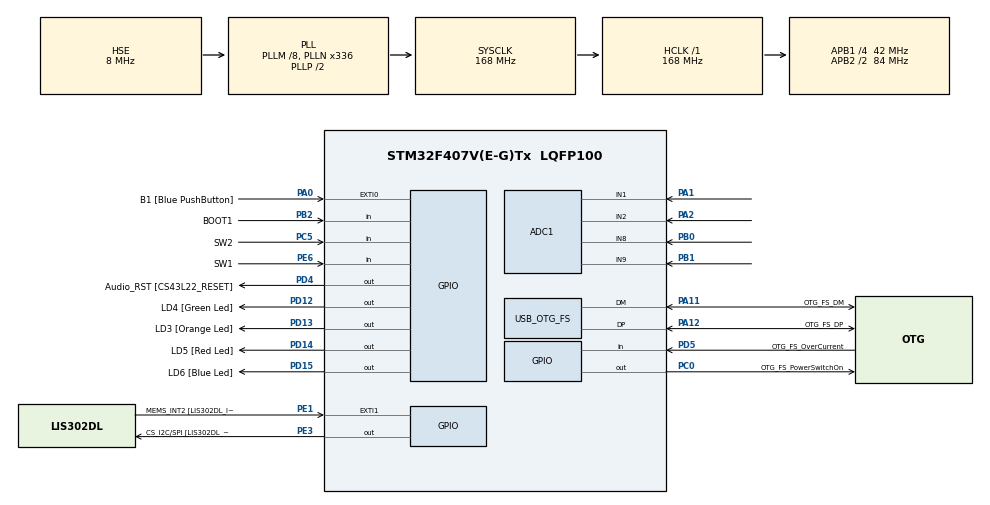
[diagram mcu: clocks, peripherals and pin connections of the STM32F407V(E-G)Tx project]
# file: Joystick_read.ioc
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ADC1.Channel-0\#ChannelRegularConversion=ADC_CHANNEL_1
ADC1.Channel-1\#ChannelRegularConversion=ADC_CHANNEL_2
ADC1.Channel-2\#ChannelRegularConversion=ADC_CHANNEL_8
ADC1.Channel-3\#ChannelRegularConversion=ADC_CHANNEL_9
ADC1.ClockPrescaler=ADC_CLOCK_SYNC_PCLK_DIV4
ADC1.InjNumberOfConversion=0
ADC1.NbrOfConversion=4
ADC1.NbrOfConversionFlag=1
ADC1.Rank-0\#ChannelRegularConversion=1
ADC1.Rank-1\#ChannelRegularConversion=2
ADC1.Rank-2\#ChannelRegularConversion=3
ADC1.Rank-3\#ChannelRegularConversion=4
ADC1.SamplingTime-0\#ChannelRegularConversion=ADC_SAMPLETIME_84CYCLES
ADC1.SamplingTime-1\#ChannelRegularConversion=ADC_SAMPLETIME_84CYCLES
ADC1.SamplingTime-2\#ChannelRegularConversion=ADC_SAMPLETIME_84CYCLES
ADC1.SamplingTime-3\#ChannelRegularConversion=ADC_SAMPLETIME_84CYCLES
ADC1.ScanConvMode=ENABLE
ADC1.master=1
Mcu.Family=STM32F4
Mcu.Name=STM32F407V(E-G)Tx
Mcu.Package=LQFP100
NVIC.OTG_FS_IRQn=true\:0\:0\:false\:false\:true\:false\:true\:true
NVIC.PriorityGroup=NVIC_PRIORITYGROUP_0
PA0-WKUP.GPIO_Label=B1 [Blue PushButton]
PA0-WKUP.Signal=GPXTI0
PA1.Signal=ADCx_IN1
PA10.GPIO_Label=OTG_FS_ID
PA10.GPIO_Mode=GPIO_MODE_AF_PP
PA10.GPIO_PuPd=GPIO_NOPULL
PA10.GPIO_Speed=GPIO_SPEED_FREQ_LOW
PA10.Signal=USB_OTG_FS_ID
PA11.GPIO_Label=OTG_FS_DM
PA11.GPIO_Mode=GPIO_MODE_AF_PP
PA11.GPIO_PuPd=GPIO_NOPULL
PA11.GPIO_Speed=GPIO_SPEED_FREQ_LOW
PA11.Mode=Device_Only
PA11.Signal=USB_OTG_FS_DM
PA12.GPIO_Label=OTG_FS_DP
PA12.GPIO_Mode=GPIO_MODE_AF_PP
PA12.GPIO_PuPd=GPIO_NOPULL
PA12.GPIO_Speed=GPIO_SPEED_FREQ_LOW
PA12.Mode=Device_Only
PA12.Signal=USB_OTG_FS_DP
PA13.GPIO_Label=SWDIO
PA13.Mode=Serial_Wire
PA13.Signal=SYS_JTMS-SWDIO
PA14.GPIO_Label=SWCLK
PA14.Mode=Serial_Wire
PA14.Signal=SYS_JTCK-SWCLK
PA2.Signal=ADCx_IN2
PA4.GPIO_Label=I2S3_WS [CS43L22_LRCK]
PA4.GPIO_Mode=GPIO_MODE_AF_PP
PA4.GPIO_PuPd=GPIO_NOPULL
PA4.GPIO_Speed=GPIO_SPEED_FREQ_LOW
PA4.Signal=I2S3_WS
PA5.GPIO_Label=SPI1_SCK [LIS302DL_SCL/SPC]
PA5.GPIO_Mode=GPIO_MODE_AF_PP
PA5.GPIO_PuPd=GPIO_NOPULL
PA5.GPIO_Speed=GPIO_SPEED_FREQ_LOW
PA5.Signal=SPI1_SCK
PA6.GPIO_Label=SPI1_MISO [LIS302DL_SDO]
PA6.GPIO_Mode=GPIO_MODE_AF_PP
PA6.GPIO_PuPd=GPIO_NOPULL
PA6.GPIO_Speed=GPIO_SPEED_FREQ_LOW
PA6.Signal=SPI1_MISO
PA7.GPIO_Label=SPI1_MOSI [LIS302DL_SDA/SDI/SDO]
PA7.GPIO_Mode=GPIO_MODE_AF_PP
PA7.GPIO_PuPd=GPIO_NOPULL
PA7.GPIO_Speed=GPIO_SPEED_FREQ_LOW
PA7.Signal=SPI1_MOSI
PA9.GPIO_Label=VBUS_FS
PA9.GPIO_Mode=GPIO_MODE_INPUT
PA9.GPIO_PuPd=GPIO_NOPULL
PA9.Signal=USB_OTG_FS_VBUS
PB0.Signal=ADCx_IN8
PB1.Signal=ADCx_IN9
PB10.GPIO_Label=CLK_IN [MP45DT02_CLK]
PB10.GPIO_Mode=GPIO_MODE_AF_PP
PB10.GPIO_PuPd=GPIO_NOPULL
PB10.GPIO_Speed=GPIO_SPEED_FREQ_LOW
PB10.Signal=I2S2_CK
PB2.GPIO_Label=BOOT1
PB2.GPIO_Mode=GPIO_MODE_INPUT
PB2.GPIO_PuPd=GPIO_NOPULL
PB2.Signal=GPIO_Input
PB3.GPIO_Label=SWO
PB3.Signal=SYS_JTDO-SWO
PB6.GPIO_Label=Audio_SCL [CS43L22_SCL]
PB6.GPIO_Mode=GPIO_MODE_AF_OD
PB6.GPIO_PuPd=GPIO_NOPULL
PB6.GPIO_Speed=GPIO_SPEED_FREQ_LOW
PB6.Signal=I2C1_SCL
PB9.GPIO_Label=Audio_SDA [CS43L22_SDA]
PB9.GPIO_Mode=GPIO_MODE_AF_OD
PB9.GPIO_PuPd=GPIO_NOPULL
PB9.GPIO_Speed=GPIO_SPEED_FREQ_LOW
PB9.Signal=I2C1_SDA
PC0.GPIO_Label=OTG_FS_PowerSwitchOn
PC0.GPIO_PuPd=GPIO_NOPULL
PC0.GPIO_Speed=GPIO_SPEED_FREQ_LOW
PC0.PinState=GPIO_PIN_SET
PC0.Signal=GPIO_Output
PC10.GPIO_Label=I2S3_SCK [CS43L22_SCLK]
PC10.GPIO_Mode=GPIO_MODE_AF_PP
PC10.GPIO_PuPd=GPIO_NOPULL
PC10.GPIO_Speed=GPIO_SPEED_FREQ_LOW
PC10.Signal=I2S3_CK
PC12.GPIO_Label=I2S3_SD [CS43L22_SDIN]
PC12.GPIO_Mode=GPIO_MODE_AF_PP
PC12.GPIO_PuPd=GPIO_NOPULL
PC12.GPIO_Speed=GPIO_SPEED_FREQ_LOW
PC12.Signal=I2S3_SD
PC14-OSC32_IN.GPIO_Label=PC14-OSC32_IN
PC14-OSC32_IN.Signal=RCC_OSC32_IN
PC15-OSC32_OUT.GPIO_Label=PC15-OSC32_OUT
PC15-OSC32_OUT.Signal=RCC_OSC32_OUT
PC3.GPIO_Label=PDM_OUT [MP45DT02_DOUT]
PC3.GPIO_Mode=GPIO_MODE_AF_PP
PC3.GPIO_PuPd=GPIO_NOPULL
PC3.GPIO_Speed=GPIO_SPEED_FREQ_LOW
PC3.Signal=I2S2_SD
PC5.GPIO_Label=SW2
PC5.GPIO_PuPd=GPIO_PULLUP
PC5.Signal=GPIO_Input
PC7.GPIO_Label=I2S3_MCK [CS43L22_MCLK]
PC7.GPIO_Mode=GPIO_MODE_AF_PP
PC7.GPIO_PuPd=GPIO_NOPULL
PC7.GPIO_Speed=GPIO_SPEED_FREQ_LOW
PC7.Signal=I2S3_MCK
PD12.GPIO_Label=LD4 [Green Led]
PD12.GPIO_PuPd=GPIO_NOPULL
PD12.GPIO_Speed=GPIO_SPEED_FREQ_LOW
PD12.Signal=GPIO_Output
PD13.GPIO_Label=LD3 [Orange Led]
PD13.GPIO_PuPd=GPIO_NOPULL
PD13.GPIO_Speed=GPIO_SPEED_FREQ_LOW
PD13.Signal=GPIO_Output
PD14.GPIO_Label=LD5 [Red Led]
PD14.GPIO_PuPd=GPIO_NOPULL
PD14.GPIO_Speed=GPIO_SPEED_FREQ_LOW
PD14.Signal=GPIO_Output
PD15.GPIO_Label=LD6 [Blue Led]
PD15.GPIO_PuPd=GPIO_NOPULL
PD15.GPIO_Speed=GPIO_SPEED_FREQ_LOW
PD15.Signal=GPIO_Output
PD4.GPIO_Label=Audio_RST [CS43L22_RESET]
PD4.GPIO_PuPd=GPIO_NOPULL
PD4.GPIO_Speed=GPIO_SPEED_FREQ_LOW
PD4.Signal=GPIO_Output
PD5.GPIO_Label=OTG_FS_OverCurrent
PD5.GPIO_Mode=GPIO_MODE_INPUT
PD5.GPIO_PuPd=GPIO_NOPULL
PD5.Signal=GPIO_Input
PE1.GPIO_Label=MEMS_INT2 [LIS302DL_INT2]
PE1.GPIO_ModeDefaultEXTI=GPIO_MODE_EVT_RISING
PE1.GPIO_PuPd=GPIO_NOPULL
PE1.Signal=GPXTI1
PE3.GPIO_Label=CS_I2C/SPI [LIS302DL_CS_I2C/SPI]
PE3.GPIO_PuPd=GPIO_NOPULL
PE3.GPIO_Speed=GPIO_SPEED_FREQ_LOW
PE3.Signal=GPIO_Output
PE6.GPIO_Label=SW1
PE6.GPIO_PuPd=GPIO_PULLUP
PE6.Signal=GPIO_Input
PH0-OSC_IN.GPIO_Label=PH0-OSC_IN
PH0-OSC_IN.Mode=HSE-External-Oscillator
PH0-OSC_IN.Signal=RCC_OSC_IN
PH1-OSC_OUT.GPIO_Label=PH1-OSC_OUT
PH1-OSC_OUT.Mode=HSE-External-Oscillator
PH1-OSC_OUT.Signal=RCC_OSC_OUT
ProjectManager.HeapSize=0x200
ProjectManager.StackSize=0x400
ProjectManager.TargetToolchain=STM32CubeIDE
RCC.48MHZClocksFreq_Value=48000000
RCC.AHBFreq_Value=168000000
RCC.APB1CLKDivider=RCC_HCLK_DIV4
RCC.APB1Freq_Value=42000000
RCC.APB1TimFreq_Value=84000000
RCC.APB2CLKDivider=RCC_HCLK_DIV2
RCC.APB2Freq_Value=84000000
RCC.APB2TimFreq_Value=168000000
RCC.CortexFreq_Value=168000000
RCC.HCLKFreq_Value=168000000
RCC.HSE_VALUE=8000000
RCC.HSI_VALUE=16000000
RCC.LSE_VALUE=32768
RCC.PLLM=8
RCC.PLLN=336
RCC.PLLQ=7
RCC.SYSCLKFreq_VALUE=168000000
RCC.SYSCLKSource=RCC_SYSCLKSOURCE_PLLCLK
RCC.VCOOutputFreq_Value=336000000
SH.ADCx_IN1.0=ADC1_IN1,IN1
SH.ADCx_IN2.0=ADC1_IN2,IN2
SH.ADCx_IN8.0=ADC1_IN8,IN8
SH.ADCx_IN9.0=ADC1_IN9,IN9
USB_DEVICE.CLASS_NAME_FS=HID
USB_DEVICE.VirtualMode-HID_FS=Hid
USB_DEVICE.VirtualModeFS=Hid_FS
USB_OTG_FS.VirtualMode=Device_Only
VP_USB_DEVICE_VS_USB_DEVICE_HID_FS.Mode=HID_FS
board=STM32F407G-DISC1

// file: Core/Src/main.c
/* USER CODE BEGIN Header */
/**
  ******************************************************************************
  * @file           : main.c
  * @brief          : Main program body
  ******************************************************************************
  * @attention
  *
  * Copyright (c) 2026 STMicroelectronics.
  * All rights reserved.
  *
  * This software is licensed under terms that can be found in the LICENSE file
  * in the root directory of this software component.
  * If no LICENSE file comes with this software, it is provided AS-IS.
  *
  ******************************************************************************
  */
//	Rank	ADC channel	STM32 pin	Joystick input
//  -----------------------------------------------
//	1		Channel 1	PA1			Joystick 1 – X
//	2		Channel 2	PA2			Joystick 1 – Y
//	3		Channel 8	PB0			Joystick 2 – X
//	4		Channel 9	PB1			Joystick 2 – Y

//	Pin	 		Mode			Pull
//  -------------------------------------
//	PE6(SW1)	GPIO Input		Pull-up
//	PC5(SW2)	GPIO Input		Pull-up

/* USER CODE END Header */
#include "main.h"
#include "usb_device.h"

/* USER CODE BEGIN Includes */
#include <stdbool.h>
#include "usbd_hid.h"
/* USER CODE END Includes */

ADC_HandleTypeDef hadc1;

/* USER CODE BEGIN PV */
volatile uint16_t joystick1_x = 0;
volatile uint16_t joystick1_y = 0;
volatile bool sw_1 = false;

volatile uint16_t joystick2_x = 0;
volatile uint16_t joystick2_y = 0;
volatile bool sw_2 =false;

uint8_t joystick_report[9]; //9 byte usb report buffer
/* USER CODE END PV */

void SystemClock_Config(void);
static void MX_GPIO_Init(void);
static void MX_ADC1_Init(void);

int main(void)
{

  /* MCU Configuration--------------------------------------------------------*/

  /* Reset of all peripherals, Initializes the Flash interface and the Systick. */
  HAL_Init();

  /* Configure the system clock */
  SystemClock_Config();

  /* Initialize all configured peripherals */
  MX_GPIO_Init();
  MX_ADC1_Init();
  MX_USB_DEVICE_Init();

  /* Infinite loop */
  /* USER CODE BEGIN WHILE */
  while (1)
  {

	  HAL_ADC_Start(&hadc1);

	  // Joystick 1 X
	  HAL_ADC_PollForConversion(&hadc1, HAL_MAX_DELAY);
	  joystick1_x = HAL_ADC_GetValue(&hadc1);

	  // Joystick 1 Y
	  HAL_ADC_PollForConversion(&hadc1, HAL_MAX_DELAY);
	  joystick1_y = HAL_ADC_GetValue(&hadc1);

	  // Joystick 2 X
	  HAL_ADC_PollForConversion(&hadc1, HAL_MAX_DELAY);
	  joystick2_x = HAL_ADC_GetValue(&hadc1);

	  // Joystick 2 Y
	  HAL_ADC_PollForConversion(&hadc1, HAL_MAX_DELAY);
	  joystick2_y = HAL_ADC_GetValue(&hadc1);

	  HAL_ADC_Stop(&hadc1);

	  sw_1 = (HAL_GPIO_ReadPin(SW1_GPIO_Port, SW1_Pin) == GPIO_PIN_RESET);
	  sw_2 = (HAL_GPIO_ReadPin(SW2_GPIO_Port, SW2_Pin) == GPIO_PIN_RESET);

	  while (1)
	  {
	      // Start ADC conversion sequence
	      HAL_ADC_Start(&hadc1);

	      // Read Joystick 1 X
	      HAL_ADC_PollForConversion(&hadc1, HAL_MAX_DELAY);
	      joystick1_y = HAL_ADC_GetValue(&hadc1);

	      // Read Joystick 1 Y
	      HAL_ADC_PollForConversion(&hadc1, HAL_MAX_DELAY);
	      joystick1_x = HAL_ADC_GetValue(&hadc1);

	      // Read Joystick 2 X
	      HAL_ADC_PollForConversion(&hadc1, HAL_MAX_DELAY);
	      joystick2_x = HAL_ADC_GetValue(&hadc1);

	      // Read Joystick 2 Y
	      HAL_ADC_PollForConversion(&hadc1, HAL_MAX_DELAY);
	      joystick2_y = HAL_ADC_GetValue(&hadc1);

	      HAL_ADC_Stop(&hadc1);

	      // Read physical switches
	      sw_1 = (HAL_GPIO_ReadPin(SW1_GPIO_Port, SW1_Pin) == GPIO_PIN_RESET);
	      sw_2 = (HAL_GPIO_ReadPin(SW2_GPIO_Port, SW2_Pin) == GPIO_PIN_RESET);

	      // Pack joystick 1 X
	      joystick_report[0] = (uint8_t)(joystick1_x & 0xFF);
	      joystick_report[1] = (uint8_t)(joystick1_x >> 8);

	      // Pack joystick 1 Y
	      joystick_report[2] = (uint8_t)(joystick1_y & 0xFF);
	      joystick_report[3] = (uint8_t)(joystick1_y >> 8);

	      // Pack joystick 2 X
	      joystick_report[4] = (uint8_t)(joystick2_x & 0xFF);
	      joystick_report[5] = (uint8_t)(joystick2_x >> 8);

	      // Pack joystick 2 Y
	      joystick_report[6] = (uint8_t)(joystick2_y & 0xFF);
	      joystick_report[7] = (uint8_t)(joystick2_y >> 8);

	      // Pack two buttons into the final byte
	      joystick_report[8] =
	          (sw_1 ? 1U : 0U) |
	          ((sw_2 ? 1U : 0U) << 1);

	      // Send the 9-byte report to the PC
	      USBD_HID_SendReport(&hUsbDeviceFS, joystick_report, 9);

	      HAL_Delay(10);
	  }

    /* USER CODE END WHILE */

  }
}

void SystemClock_Config(void)
{
  RCC_OscInitTypeDef RCC_OscInitStruct = {0};
  RCC_ClkInitTypeDef RCC_ClkInitStruct = {0};

  /** Configure the main internal regulator output voltage
  */
  __HAL_RCC_PWR_CLK_ENABLE();
  __HAL_PWR_VOLTAGESCALING_CONFIG(PWR_REGULATOR_VOLTAGE_SCALE1);

  /** Initializes the RCC Oscillators according to the specified parameters
  * in the RCC_OscInitTypeDef structure.
  */
  RCC_OscInitStruct.OscillatorType = RCC_OSCILLATORTYPE_HSE;
  RCC_OscInitStruct.HSEState = RCC_HSE_ON;
  RCC_OscInitStruct.PLL.PLLState = RCC_PLL_ON;
  RCC_OscInitStruct.PLL.PLLSource = RCC_PLLSOURCE_HSE;
  RCC_OscInitStruct.PLL.PLLM = 8;
  RCC_OscInitStruct.PLL.PLLN = 336;
  RCC_OscInitStruct.PLL.PLLP = RCC_PLLP_DIV2;
  RCC_OscInitStruct.PLL.PLLQ = 7;
  if (HAL_RCC_OscConfig(&RCC_OscInitStruct) != HAL_OK)
  {
    Error_Handler();
  }

  /** Initializes the CPU, AHB and APB buses clocks
  */
  RCC_ClkInitStruct.ClockType = RCC_CLOCKTYPE_HCLK|RCC_CLOCKTYPE_SYSCLK
                              |RCC_CLOCKTYPE_PCLK1|RCC_CLOCKTYPE_PCLK2;
  RCC_ClkInitStruct.SYSCLKSource = RCC_SYSCLKSOURCE_PLLCLK;
  RCC_ClkInitStruct.AHBCLKDivider = RCC_SYSCLK_DIV1;
  RCC_ClkInitStruct.APB1CLKDivider = RCC_HCLK_DIV4;
  RCC_ClkInitStruct.APB2CLKDivider = RCC_HCLK_DIV2;

  if (HAL_RCC_ClockConfig(&RCC_ClkInitStruct, FLASH_LATENCY_5) != HAL_OK)
  {
    Error_Handler();
  }
}

static void MX_ADC1_Init(void)
{

  ADC_ChannelConfTypeDef sConfig = {0};

  /** Configure the global features of the ADC (Clock, Resolution, Data Alignment and number of conversion)
  */
  hadc1.Instance = ADC1;
  hadc1.Init.ClockPrescaler = ADC_CLOCK_SYNC_PCLK_DIV4;
  hadc1.Init.Resolution = ADC_RESOLUTION_12B;
  hadc1.Init.ScanConvMode = ENABLE;
  hadc1.Init.ContinuousConvMode = DISABLE;
  hadc1.Init.DiscontinuousConvMode = DISABLE;
  hadc1.Init.ExternalTrigConvEdge = ADC_EXTERNALTRIGCONVEDGE_NONE;
  hadc1.Init.ExternalTrigConv = ADC_SOFTWARE_START;
  hadc1.Init.DataAlign = ADC_DATAALIGN_RIGHT;
  hadc1.Init.NbrOfConversion = 4;
  hadc1.Init.DMAContinuousRequests = DISABLE;
  hadc1.Init.EOCSelection = ADC_EOC_SINGLE_CONV;
  if (HAL_ADC_Init(&hadc1) != HAL_OK)
  {
    Error_Handler();
  }

  /** Configure for the selected ADC regular channel its corresponding rank in the sequencer and its sample time.
  */
  sConfig.Channel = ADC_CHANNEL_1;
  sConfig.Rank = 1;
  sConfig.SamplingTime = ADC_SAMPLETIME_84CYCLES;
  if (HAL_ADC_ConfigChannel(&hadc1, &sConfig) != HAL_OK)
  {
    Error_Handler();
  }

  /** Configure for the selected ADC regular channel its corresponding rank in the sequencer and its sample time.
  */
  sConfig.Channel = ADC_CHANNEL_2;
  sConfig.Rank = 2;
  if (HAL_ADC_ConfigChannel(&hadc1, &sConfig) != HAL_OK)
  {
    Error_Handler();
  }

  /** Configure for the selected ADC regular channel its corresponding rank in the sequencer and its sample time.
  */
  sConfig.Channel = ADC_CHANNEL_8;
  sConfig.Rank = 3;
  if (HAL_ADC_ConfigChannel(&hadc1, &sConfig) != HAL_OK)
  {
    Error_Handler();
  }

  /** Configure for the selected ADC regular channel its corresponding rank in the sequencer and its sample time.
  */
  sConfig.Channel = ADC_CHANNEL_9;
  sConfig.Rank = 4;
  if (HAL_ADC_ConfigChannel(&hadc1, &sConfig) != HAL_OK)
  {
    Error_Handler();
  }

}

static void MX_GPIO_Init(void)
{
  GPIO_InitTypeDef GPIO_InitStruct = {0};

  /* GPIO Ports Clock Enable */
  __HAL_RCC_GPIOE_CLK_ENABLE();
  __HAL_RCC_GPIOC_CLK_ENABLE();
  __HAL_RCC_GPIOH_CLK_ENABLE();
  __HAL_RCC_GPIOA_CLK_ENABLE();
  __HAL_RCC_GPIOB_CLK_ENABLE();
  __HAL_RCC_GPIOD_CLK_ENABLE();

  /*Configure GPIO pin Output Level */
  HAL_GPIO_WritePin(CS_I2C_SPI_GPIO_Port, CS_I2C_SPI_Pin, GPIO_PIN_RESET);

  /*Configure GPIO pin Output Level */
  HAL_GPIO_WritePin(OTG_FS_PowerSwitchOn_GPIO_Port, OTG_FS_PowerSwitchOn_Pin, GPIO_PIN_SET);

  /*Configure GPIO pin Output Level */
  HAL_GPIO_WritePin(GPIOD, LD4_Pin|LD3_Pin|LD5_Pin|LD6_Pin
                          |Audio_RST_Pin, GPIO_PIN_RESET);

  /*Configure GPIO pin : CS_I2C_SPI_Pin */
  GPIO_InitStruct.Pin = CS_I2C_SPI_Pin;
  GPIO_InitStruct.Mode = GPIO_MODE_OUTPUT_PP;
  GPIO_InitStruct.Pull = GPIO_NOPULL;
  GPIO_InitStruct.Speed = GPIO_SPEED_FREQ_LOW;
  HAL_GPIO_Init(CS_I2C_SPI_GPIO_Port, &GPIO_InitStruct);

  /*Configure GPIO pin : SW1_Pin */
  GPIO_InitStruct.Pin = SW1_Pin;
  GPIO_InitStruct.Mode = GPIO_MODE_INPUT;
  GPIO_InitStruct.Pull = GPIO_PULLUP;
  HAL_GPIO_Init(SW1_GPIO_Port, &GPIO_InitStruct);

  /*Configure GPIO pin : OTG_FS_PowerSwitchOn_Pin */
  GPIO_InitStruct.Pin = OTG_FS_PowerSwitchOn_Pin;
  GPIO_InitStruct.Mode = GPIO_MODE_OUTPUT_PP;
  GPIO_InitStruct.Pull = GPIO_NOPULL;
  GPIO_InitStruct.Speed = GPIO_SPEED_FREQ_LOW;
  HAL_GPIO_Init(OTG_FS_PowerSwitchOn_GPIO_Port, &GPIO_InitStruct);

  /*Configure GPIO pin : PDM_OUT_Pin */
  GPIO_InitStruct.Pin = PDM_OUT_Pin;
  GPIO_InitStruct.Mode = GPIO_MODE_AF_PP;
  GPIO_InitStruct.Pull = GPIO_NOPULL;
  GPIO_InitStruct.Speed = GPIO_SPEED_FREQ_LOW;
  GPIO_InitStruct.Alternate = GPIO_AF5_SPI2;
  HAL_GPIO_Init(PDM_OUT_GPIO_Port, &GPIO_InitStruct);

  /*Configure GPIO pin : B1_Pin */
  GPIO_InitStruct.Pin = B1_Pin;
  GPIO_InitStruct.Mode = GPIO_MODE_IT_RISING;
  GPIO_InitStruct.Pull = GPIO_NOPULL;
  HAL_GPIO_Init(B1_GPIO_Port, &GPIO_InitStruct);

  /*Configure GPIO pin : I2S3_WS_Pin */
  GPIO_InitStruct.Pin = I2S3_WS_Pin;
  GPIO_InitStruct.Mode = GPIO_MODE_AF_PP;
  GPIO_InitStruct.Pull = GPIO_NOPULL;
  GPIO_InitStruct.Speed = GPIO_SPEED_FREQ_LOW;
  GPIO_InitStruct.Alternate = GPIO_AF6_SPI3;
  HAL_GPIO_Init(I2S3_WS_GPIO_Port, &GPIO_InitStruct);

  /*Configure GPIO pins : SPI1_SCK_Pin SPI1_MISO_Pin SPI1_MOSI_Pin */
  GPIO_InitStruct.Pin = SPI1_SCK_Pin|SPI1_MISO_Pin|SPI1_MOSI_Pin;
  GPIO_InitStruct.Mode = GPIO_MODE_AF_PP;
  GPIO_InitStruct.Pull = GPIO_NOPULL;
  GPIO_InitStruct.Speed = GPIO_SPEED_FREQ_LOW;
  GPIO_InitStruct.Alternate = GPIO_AF5_SPI1;
  HAL_GPIO_Init(GPIOA, &GPIO_InitStruct);

  /*Configure GPIO pin : SW2_Pin */
  GPIO_InitStruct.Pin = SW2_Pin;
  GPIO_InitStruct.Mode = GPIO_MODE_INPUT;
  GPIO_InitStruct.Pull = GPIO_PULLUP;
  HAL_GPIO_Init(SW2_GPIO_Port, &GPIO_InitStruct);

  /*Configure GPIO pin : BOOT1_Pin */
  GPIO_InitStruct.Pin = BOOT1_Pin;
  GPIO_InitStruct.Mode = GPIO_MODE_INPUT;
  GPIO_InitStruct.Pull = GPIO_NOPULL;
  HAL_GPIO_Init(BOOT1_GPIO_Port, &GPIO_InitStruct);

  /*Configure GPIO pin : CLK_IN_Pin */
  GPIO_InitStruct.Pin = CLK_IN_Pin;
  GPIO_InitStruct.Mode = GPIO_MODE_AF_PP;
  GPIO_InitStruct.Pull = GPIO_NOPULL;
  GPIO_InitStruct.Speed = GPIO_SPEED_FREQ_LOW;
  GPIO_InitStruct.Alternate = GPIO_AF5_SPI2;
  HAL_GPIO_Init(CLK_IN_GPIO_Port, &GPIO_InitStruct);

  /*Configure GPIO pins : LD4_Pin LD3_Pin LD5_Pin LD6_Pin
                           Audio_RST_Pin */
  GPIO_InitStruct.Pin = LD4_Pin|LD3_Pin|LD5_Pin|LD6_Pin
                          |Audio_RST_Pin;
  GPIO_InitStruct.Mode = GPIO_MODE_OUTPUT_PP;
  GPIO_InitStruct.Pull = GPIO_NOPULL;
  GPIO_InitStruct.Speed = GPIO_SPEED_FREQ_LOW;
  HAL_GPIO_Init(GPIOD, &GPIO_InitStruct);

  /*Configure GPIO pins : I2S3_MCK_Pin I2S3_SCK_Pin I2S3_SD_Pin */
  GPIO_InitStruct.Pin = I2S3_MCK_Pin|I2S3_SCK_Pin|I2S3_SD_Pin;
  GPIO_InitStruct.Mode = GPIO_MODE_AF_PP;
  GPIO_InitStruct.Pull = GPIO_NOPULL;
  GPIO_InitStruct.Speed = GPIO_SPEED_FREQ_LOW;
  GPIO_InitStruct.Alternate = GPIO_AF6_SPI3;
  HAL_GPIO_Init(GPIOC, &GPIO_InitStruct);

  /*Configure GPIO pin : OTG_FS_OverCurrent_Pin */
  GPIO_InitStruct.Pin = OTG_FS_OverCurrent_Pin;
  GPIO_InitStruct.Mode = GPIO_MODE_INPUT;
  GPIO_InitStruct.Pull = GPIO_NOPULL;
  HAL_GPIO_Init(OTG_FS_OverCurrent_GPIO_Port, &GPIO_InitStruct);

  /*Configure GPIO pins : Audio_SCL_Pin Audio_SDA_Pin */
  GPIO_InitStruct.Pin = Audio_SCL_Pin|Audio_SDA_Pin;
  GPIO_InitStruct.Mode = GPIO_MODE_AF_OD;
  GPIO_InitStruct.Pull = GPIO_NOPULL;
  GPIO_InitStruct.Speed = GPIO_SPEED_FREQ_LOW;
  GPIO_InitStruct.Alternate = GPIO_AF4_I2C1;
  HAL_GPIO_Init(GPIOB, &GPIO_InitStruct);

  /*Configure GPIO pin : MEMS_INT2_Pin */
  GPIO_InitStruct.Pin = MEMS_INT2_Pin;
  GPIO_InitStruct.Mode = GPIO_MODE_EVT_RISING;
  GPIO_InitStruct.Pull = GPIO_NOPULL;
  HAL_GPIO_Init(MEMS_INT2_GPIO_Port, &GPIO_InitStruct);

}

void Error_Handler(void)
{
  __disable_irq();
  while (1)
  {
  }
}
